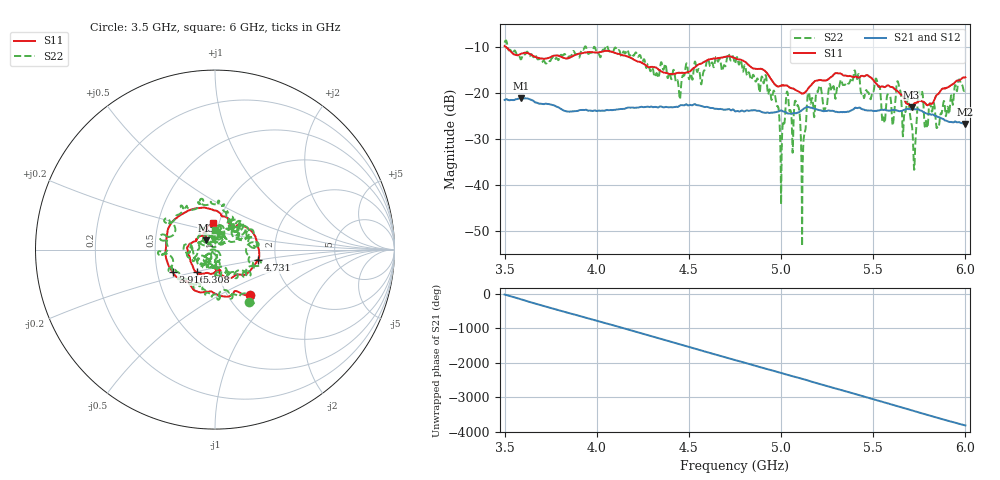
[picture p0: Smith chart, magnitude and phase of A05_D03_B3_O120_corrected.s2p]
! Created with skrf 1.9.0 (http://scikit-rf.org).
# Hz S RI R 50.0
!freq ReS11 ImS11 ReS21 ImS21 ReS12 ImS12 ReS22 ImS22
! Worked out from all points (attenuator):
!   1601 points, 3.5 GHz to 6 GHz, reference 50 ohm
!   highest |S21| = -21.13 dB at 3.591 GHz (marker M1); lowest = -26.7 dB at 5.998 GHz (marker M2)
!   lowest |S11| = -23.1 dB at 5.708 GHz (marker M3), VSWR 1.15, Z = 45.2 + j4.63 ohm
!   |S11| at or under -10 dB: 3.506 GHz to end of sweep
!   |S22| runs from -53.2 to -8.6 dB; largest |S21 - S12| = 0.001
!   S11 on the Smith chart (normalised r, x): 3.5 GHz: 1.26, -0.72; 3.916 GHz: 0.60, -0.16; 4.731 GHz: 1.61, -0.20; 5.308 GHz: 0.79, -0.21; 6 GHz: 0.94, +0.28
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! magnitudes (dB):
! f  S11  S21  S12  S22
! 3.5 GHz  -9.8  -21.5  -21.5  -9.1
! 3.591 GHz  -11.5  -21.1  -21.1  -12.7
! 3.916 GHz  -11.5  -23.7  -23.7  -10.9
! 3.917 GHz  -11.5  -23.7  -23.7  -10.7
! 4.334 GHz  -14.9  -23.1  -23.1  -16.8
! 4.731 GHz  -12.2  -23.8  -23.7  -12.8
! 4.75 GHz  -12.5  -24.0  -23.9  -13.7
! 4.966 GHz  -18.1  -24.2  -24.2  -20.2
! 5.005 GHz  -18.3  -23.9  -23.9  -30.2
! 5.031 GHz  -18.4  -24.3  -24.3  -19.8
! 5.086 GHz  -19.5  -24.4  -24.3  -22.7
! 5.119 GHz  -20.1  -23.5  -23.5  -33.1
! 5.167 GHz  -18.1  -23.2  -23.2  -21.1
! 5.308 GHz  -15.8  -24.2  -24.1  -18.5
! 5.584 GHz  -18.4  -23.8  -23.8  -20.4
! 5.638 GHz  -19.8  -23.9  -23.9  -18.1
! 5.708 GHz  -23.1  -23.5  -23.5  -26.7
! 5.725 GHz  -22.2  -23.5  -23.5  -34.5
! 5.756 GHz  -21.7  -23.8  -23.8  -20.4
! 5.85 GHz  -20.3  -25.2  -25.1  -27.3
! 5.998 GHz  -16.7  -26.7  -26.7  -19.4
! 6 GHz  -16.6  -26.7  -26.7  -19.2
